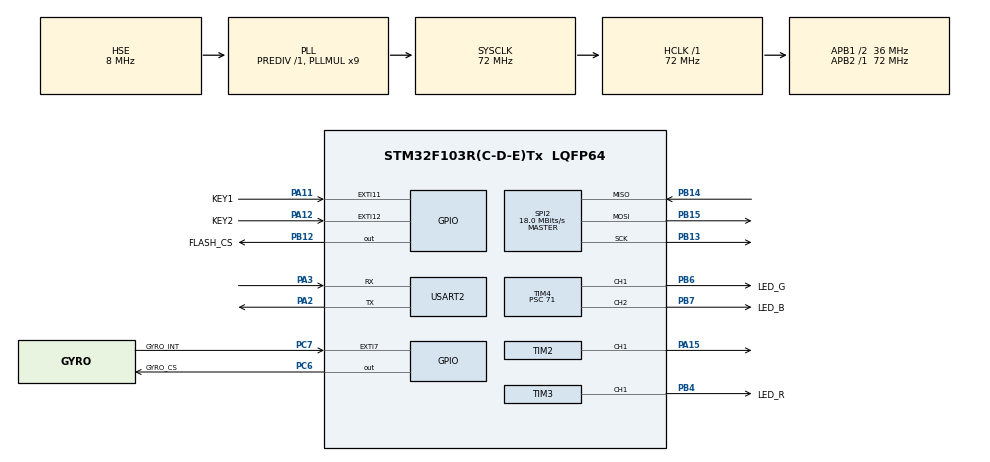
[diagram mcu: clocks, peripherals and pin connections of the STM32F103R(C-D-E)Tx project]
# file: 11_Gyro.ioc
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Mcu.Family=STM32F1
Mcu.Name=STM32F103R(C-D-E)Tx
Mcu.Package=LQFP64
NVIC.PriorityGroup=NVIC_PRIORITYGROUP_4
NVIC.USART2_IRQn=true\:0\:0\:false\:false\:true\:true\:true\:true
PA11.GPIO_Label=KEY1
PA11.GPIO_ModeDefaultEXTI=GPIO_MODE_IT_RISING_FALLING
PA11.GPIO_PuPd=GPIO_PULLUP
PA11.Signal=GPXTI11
PA12.GPIO_Label=KEY2
PA12.GPIO_ModeDefaultEXTI=GPIO_MODE_IT_RISING_FALLING
PA12.GPIO_PuPd=GPIO_PULLUP
PA12.Signal=GPXTI12
PA13.Mode=Serial_Wire
PA13.Signal=SYS_JTMS-SWDIO
PA14.Mode=Serial_Wire
PA14.Signal=SYS_JTCK-SWCLK
PA15.GPIO_Speed=GPIO_SPEED_FREQ_HIGH
PA15.Signal=S_TIM2_CH1_ETR
PA2.Mode=Asynchronous
PA2.Signal=USART2_TX
PA3.Mode=Asynchronous
PA3.Signal=USART2_RX
PB12.GPIO_Label=FLASH_CS
PB12.GPIO_PuPd=GPIO_PULLUP
PB12.GPIO_Speed=GPIO_SPEED_FREQ_HIGH
PB12.PinState=GPIO_PIN_SET
PB12.Signal=GPIO_Output
PB13.Mode=Full_Duplex_Master
PB13.Signal=SPI2_SCK
PB14.Mode=Full_Duplex_Master
PB14.Signal=SPI2_MISO
PB15.Mode=Full_Duplex_Master
PB15.Signal=SPI2_MOSI
PB4.GPIO_Label=LED_R
PB4.GPIO_Speed=GPIO_SPEED_FREQ_HIGH
PB4.Signal=S_TIM3_CH1
PB6.GPIO_Label=LED_G
PB6.GPIO_Speed=GPIO_SPEED_FREQ_HIGH
PB6.Signal=S_TIM4_CH1
PB7.GPIO_Label=LED_B
PB7.GPIO_Speed=GPIO_SPEED_FREQ_HIGH
PB7.Signal=S_TIM4_CH2
PC6.GPIO_Label=GYRO_CS
PC6.GPIO_PuPd=GPIO_PULLUP
PC6.GPIO_Speed=GPIO_SPEED_FREQ_HIGH
PC6.PinState=GPIO_PIN_SET
PC6.Signal=GPIO_Output
PC7.GPIO_Label=GYRO_INT
PC7.GPIO_PuPd=GPIO_PULLUP
PC7.Signal=GPXTI7
PD0-OSC_IN.Mode=HSE-External-Oscillator
PD0-OSC_IN.Signal=RCC_OSC_IN
PD1-OSC_OUT.Mode=HSE-External-Oscillator
PD1-OSC_OUT.Signal=RCC_OSC_OUT
ProjectManager.HeapSize=0x200
ProjectManager.StackSize=0x400
ProjectManager.TargetToolchain=MDK-ARM V5.32
RCC.AHBFreq_Value=72000000
RCC.APB1CLKDivider=RCC_HCLK_DIV2
RCC.APB1Freq_Value=36000000
RCC.APB1TimFreq_Value=72000000
RCC.APB2Freq_Value=72000000
RCC.APB2TimFreq_Value=72000000
RCC.HCLKFreq_Value=72000000
RCC.PLLMUL=RCC_PLL_MUL9
RCC.PLLSourceVirtual=RCC_PLLSOURCE_HSE
RCC.SYSCLKFreq_VALUE=72000000
RCC.SYSCLKSource=RCC_SYSCLKSOURCE_PLLCLK
RCC.USBFreq_Value=72000000
SH.S_TIM2_CH1_ETR.0=TIM2_CH1,PWM Generation1 CH1
SH.S_TIM3_CH1.0=TIM3_CH1,PWM Generation1 CH1
SH.S_TIM4_CH1.0=TIM4_CH1,PWM Generation1 CH1
SH.S_TIM4_CH2.0=TIM4_CH2,PWM Generation2 CH2
SPI2.CLKPhase=SPI_PHASE_2EDGE
SPI2.CLKPolarity=SPI_POLARITY_HIGH
SPI2.CalculateBaudRate=18.0 MBits/s
SPI2.Direction=SPI_DIRECTION_2LINES
SPI2.Mode=SPI_MODE_MASTER
SPI2.VirtualType=VM_MASTER
TIM1.AutoReloadPreload=TIM_AUTORELOAD_PRELOAD_ENABLE
TIM1.Period=9999
TIM1.Prescaler=71
TIM2.Channel-PWM\ Generation1\ CH1=TIM_CHANNEL_1
TIM2.OCPolarity_1=TIM_OCPOLARITY_LOW
TIM2.Period=99
TIM2.Prescaler=71
TIM3.AutoReloadPreload=TIM_AUTORELOAD_PRELOAD_ENABLE
TIM3.Channel-PWM\ Generation1\ CH1=TIM_CHANNEL_1
TIM3.OCPolarity_1=TIM_OCPOLARITY_LOW
TIM3.Period=4999
TIM3.Prescaler=71
TIM4.AutoReloadPreload=TIM_AUTORELOAD_PRELOAD_ENABLE
TIM4.Channel-PWM\ Generation1\ CH1=TIM_CHANNEL_1
TIM4.Channel-PWM\ Generation2\ CH2=TIM_CHANNEL_2
TIM4.OCPolarity_1=TIM_OCPOLARITY_LOW
TIM4.OCPolarity_2=TIM_OCPOLARITY_LOW
TIM4.Period=4999
TIM4.Prescaler=71
USART2.VirtualMode=VM_ASYNC
VP_TIM1_VS_ClockSourceINT.Mode=Internal
VP_TIM2_VS_ClockSourceINT.Mode=Internal
VP_TIM3_VS_ClockSourceINT.Mode=Internal
VP_TIM4_VS_ClockSourceINT.Mode=Internal
board=custom

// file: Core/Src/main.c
/* USER CODE BEGIN Header */
/**
 ******************************************************************************
 * @file           : main.c
 * @brief          : Main program body
 ******************************************************************************
 * @attention
 *
 * Copyright (c) 2025 STMicroelectronics.
 * All rights reserved.
 *
 * This software is licensed under terms that can be found in the LICENSE file
 * in the root directory of this software component.
 * If no LICENSE file comes with this software, it is provided AS-IS.
 *
 ******************************************************************************
 */
/* USER CODE END Header */
#include "main.h"
#include "spi.h"
#include "tim.h"
#include "usart.h"
#include "gpio.h"

/* USER CODE BEGIN PM */
// ICM-42688-P寄存器定义
#define WHO_AM_I_REG 0x75
#define PWR_MGMT0_REG 0x4E
#define GYRO_CONFIG0_REG 0x4F
#define ACCEL_CONFIG0_REG 0x50
#define FIFO_CONFIG_REG 0x16
#define FIFO_DATA_REG 0x34
/* USER CODE END PM */

/* USER CODE BEGIN PV */
int16_t rawAccelerationData[3] = {0};
int16_t rawAngleData[3] = {0};
float accelerationData[3] = {0.0};
float angleData[3] = {0.0};
/* USER CODE END PV */

void SystemClock_Config(void);
/* USER CODE BEGIN PFP */
void ICM42688_WriteRegister(uint8_t reg, uint8_t data)
{
  uint8_t tx_buffer[2] = {reg & 0x7F, data}; // 清除最高位(写操作)

  HAL_GPIO_WritePin(GYRO_CS_GPIO_Port, GYRO_CS_Pin, GPIO_PIN_RESET);
  HAL_SPI_Transmit(&hspi2, tx_buffer, 2, HAL_MAX_DELAY);
  HAL_GPIO_WritePin(GYRO_CS_GPIO_Port, GYRO_CS_Pin, GPIO_PIN_SET);
}

uint8_t ICM42688_ReadRegister(uint8_t reg)
{
  uint8_t tx_buffer[2] = {reg | 0x80, 0xff}; // 设置最高位(读操作)
  uint8_t rx_buffer[2] = {0};

  HAL_GPIO_WritePin(GYRO_CS_GPIO_Port, GYRO_CS_Pin, GPIO_PIN_RESET);
  HAL_SPI_TransmitReceive(&hspi2, tx_buffer, rx_buffer, 2, HAL_MAX_DELAY);
  HAL_GPIO_WritePin(GYRO_CS_GPIO_Port, GYRO_CS_Pin, GPIO_PIN_SET);
  return rx_buffer[1];
}
void ICM42688_Init(void)
{
  uint8_t whoami;
  uint8_t tx_data;

  // 复位设备
  ICM42688_WriteRegister(PWR_MGMT0_REG, 0x00);
  HAL_Delay(10);

  // 检查WHO_AM_I
  whoami = ICM42688_ReadRegister(WHO_AM_I_REG);
  if (whoami != 0x47)
  { // ICM-42688-P的WHO_AM_I值应为0x42
    while (1)
      ;
  }

  // 配置电源管理
  tx_data = 0x0F; // 启用加速度计和陀螺仪
  ICM42688_WriteRegister(PWR_MGMT0_REG, tx_data);

  // 配置陀螺仪
  tx_data = (0x03 << 5) | 0x06; // ±500dps, 1kHz ODR
  ICM42688_WriteRegister(GYRO_CONFIG0_REG, tx_data);

  // 配置加速度计
  tx_data = (0x01 << 5) | 0x06; // ±8g, 1kHz ODR
  ICM42688_WriteRegister(ACCEL_CONFIG0_REG, tx_data);

  // 配置FIFO
  tx_data = 0x03; // 启用加速度计和陀螺仪数据到FIFO
  ICM42688_WriteRegister(FIFO_CONFIG_REG, tx_data);

  HAL_Delay(100); // 等待传感器稳定
}
// 读取传感器数据
void ReadSensorData(int16_t *accel, int16_t *gyro)
{
  // 读取加速度计数据
  accel[0] = (int16_t)((ICM42688_ReadRegister(0x1F) << 8) | ICM42688_ReadRegister(0x20));
  accel[1] = (int16_t)((ICM42688_ReadRegister(0x21) << 8) | ICM42688_ReadRegister(0x22));
  accel[2] = (int16_t)((ICM42688_ReadRegister(0x23) << 8) | ICM42688_ReadRegister(0x24));

  // 读取陀螺仪数据
  gyro[0] = (int16_t)((ICM42688_ReadRegister(0x25) << 8) | ICM42688_ReadRegister(0x26));
  gyro[1] = (int16_t)((ICM42688_ReadRegister(0x27) << 8) | ICM42688_ReadRegister(0x28));
  gyro[2] = (int16_t)((ICM42688_ReadRegister(0x29) << 8) | ICM42688_ReadRegister(0x2A));
}

// 将原始数据转换为实际值
void ConvertRawData(int16_t raw_accel[3], int16_t raw_gyro[3], float *accel_g, float *gyro_dps)
{
  // 加速度计转换 (±8g范围)
  for (int i = 0; i < 3; i++)
  {
    accel_g[i] = (float)raw_accel[i] / 4096.0f; // 4096 LSB/g (对于±8g范围)
  }

  // 陀螺仪转换 (±500dps范围)
  for (int i = 0; i < 3; i++)
  {
    gyro_dps[i] = (float)raw_gyro[i] / 65.5f; // 65.5 LSB/dps (对于±500dps范围)
  }
}

#define TEMP_SENSITIVITY 132.48f // LSB/℃
#define TEMP_OFFSET 25.0f        // 25℃时输出0

float ICM42688_ReadTemperature(void)
{
  // 读取两个8位寄存器并组合成16位数据
  int16_t temp_raw = (int16_t)((ICM42688_ReadRegister(0x1D) << 8) | ICM42688_ReadRegister(0x1E));

  // 转换为实际温度值
  return ((float)temp_raw / TEMP_SENSITIVITY) + TEMP_OFFSET;
}
/* USER CODE END PFP */

int main(void)
{

  /* MCU Configuration--------------------------------------------------------*/

  /* Reset of all peripherals, Initializes the Flash interface and the Systick. */
  HAL_Init();

  /* Configure the system clock */
  SystemClock_Config();

  /* Initialize all configured peripherals */
  MX_GPIO_Init();
  MX_TIM1_Init();
  MX_TIM3_Init();
  MX_TIM4_Init();
  MX_TIM2_Init();
  MX_USART2_UART_Init();
  MX_SPI2_Init();
  /* USER CODE BEGIN 2 */
  ICM42688_Init();
  /* USER CODE END 2 */

  /* Infinite loop */
  /* USER CODE BEGIN WHILE */
  while (1)
  {
    ReadSensorData(rawAccelerationData, rawAngleData);
    ConvertRawData(rawAccelerationData, rawAngleData, accelerationData, angleData);
    MyPrintf("%f,%f,%f,%f,%f,%f\r\n", accelerationData[0], accelerationData[1], accelerationData[2], angleData[0], angleData[1], angleData[2]);
    /* USER CODE END WHILE */

  }
}

void SystemClock_Config(void)
{
  RCC_OscInitTypeDef RCC_OscInitStruct = {0};
  RCC_ClkInitTypeDef RCC_ClkInitStruct = {0};

  /** Initializes the RCC Oscillators according to the specified parameters
   * in the RCC_OscInitTypeDef structure.
   */
  RCC_OscInitStruct.OscillatorType = RCC_OSCILLATORTYPE_HSE;
  RCC_OscInitStruct.HSEState = RCC_HSE_ON;
  RCC_OscInitStruct.HSEPredivValue = RCC_HSE_PREDIV_DIV1;
  RCC_OscInitStruct.HSIState = RCC_HSI_ON;
  RCC_OscInitStruct.PLL.PLLState = RCC_PLL_ON;
  RCC_OscInitStruct.PLL.PLLSource = RCC_PLLSOURCE_HSE;
  RCC_OscInitStruct.PLL.PLLMUL = RCC_PLL_MUL9;
  if (HAL_RCC_OscConfig(&RCC_OscInitStruct) != HAL_OK)
  {
    Error_Handler();
  }

  /** Initializes the CPU, AHB and APB buses clocks
   */
  RCC_ClkInitStruct.ClockType = RCC_CLOCKTYPE_HCLK | RCC_CLOCKTYPE_SYSCLK | RCC_CLOCKTYPE_PCLK1 | RCC_CLOCKTYPE_PCLK2;
  RCC_ClkInitStruct.SYSCLKSource = RCC_SYSCLKSOURCE_PLLCLK;
  RCC_ClkInitStruct.AHBCLKDivider = RCC_SYSCLK_DIV1;
  RCC_ClkInitStruct.APB1CLKDivider = RCC_HCLK_DIV2;
  RCC_ClkInitStruct.APB2CLKDivider = RCC_HCLK_DIV1;

  if (HAL_RCC_ClockConfig(&RCC_ClkInitStruct, FLASH_LATENCY_2) != HAL_OK)
  {
    Error_Handler();
  }
}

void Error_Handler(void)
{
  __disable_irq();
  while (1)
  {
  }
}
